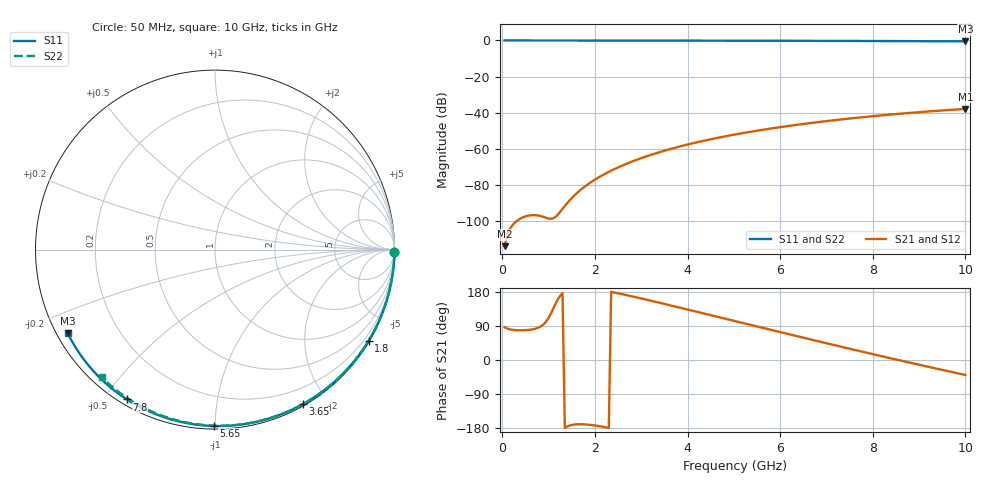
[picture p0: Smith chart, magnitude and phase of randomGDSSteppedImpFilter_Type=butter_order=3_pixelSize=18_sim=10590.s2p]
! freq	dB(S11)	phase(S11)	dB(S12)	phase(S12)
!  dB(S21)	phase(S21)	dB(S22)	phase(S22)
!S-par simulation data
#  GHz  S  DB  R 50
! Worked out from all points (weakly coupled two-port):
!   200 points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, 50 MHz to 10 GHz, reference 50 ohm
!   highest |S21| = -37.92 dB at 10 GHz (marker M1); lowest = -114.0 dB at 50 MHz (marker M2)
!   lowest |S11| = -0.5 dB at 10 GHz (marker M3), VSWR 34.40, Z = 1.55 - j13.1 ohm
!   |S11| at or under -10 dB: nowhere
!   |S22| runs from -0.4 to 0.0 dB; largest |S21 - S12| = 0
!   S11 on the Smith chart (normalised r, x): 50 MHz: open; 1.8 GHz: 0.03, -3.65; 3.65 GHz: 0.02, -1.72; 5.65 GHz: 0.02, -0.99; 7.8 GHz: 0.02, -0.57; 10 GHz: 0.03, -0.26
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0.05  -0.00 -0.9  -113.99 86.4  -113.99 86.4  -0.00 -0.8
0.45  -0.01 -7.8  -97.95 78.5  -97.95 78.5  -0.01 -6.8
0.9  -0.02 -15.5  -97.88 95.2  -97.88 95.2  -0.02 -13.6
1.75  -0.04 -29.8  -81.58 -169.7  -81.58 -169.7  -0.03 -26.2
1.8  -0.04 -30.6  -80.60 -170.1  -80.60 -170.1  -0.03 -27.0
1.85  -0.04 -31.4  -79.67 -170.6  -79.67 -170.6  -0.04 -27.7
2.05  -0.04 -34.7  -76.32 -173.8  -76.32 -173.8  -0.04 -30.6
2.25  -0.05 -38.0  -73.46 -177.9  -73.46 -177.9  -0.04 -33.6
2.55  -0.05 -42.9  -69.77 174.7  -69.77 174.7  -0.05 -37.9
2.95  -0.06 -49.4  -65.68 163.9  -65.68 163.9  -0.06 -43.6
3.4  -0.07 -56.6  -61.86 151.0  -61.86 151.0  -0.07 -50.0
3.65  -0.08 -60.5  -60.01 143.6  -60.01 143.6  -0.07 -53.4
4.3  -0.10 -70.5  -55.87 124.3  -55.87 124.3  -0.09 -62.3
5.05  -0.13 -81.7  -51.99 101.8  -51.99 101.8  -0.11 -72.3
5.65  -0.15 -90.5  -49.38 83.9  -49.38 83.9  -0.13 -80.1
6.15  -0.17 -97.6  -47.48 69.1  -47.48 69.1  -0.15 -86.4
6.7  -0.20 -105.3  -45.61 52.9  -45.61 52.9  -0.18 -93.2
7.25  -0.24 -112.9  -43.95 36.9  -43.95 36.9  -0.21 -99.9
7.8  -0.28 -120.4  -42.47 21.1  -42.47 21.1  -0.25 -106.4
8.35  -0.33 -127.9  -41.14 5.6  -41.14 5.6  -0.29 -112.8
9.2  -0.41 -139.5  -39.35 -18.0  -39.35 -18.0  -0.36 -122.6
10  -0.51 -150.6  -37.92 -39.6  -37.92 -39.6  -0.44 -131.7
